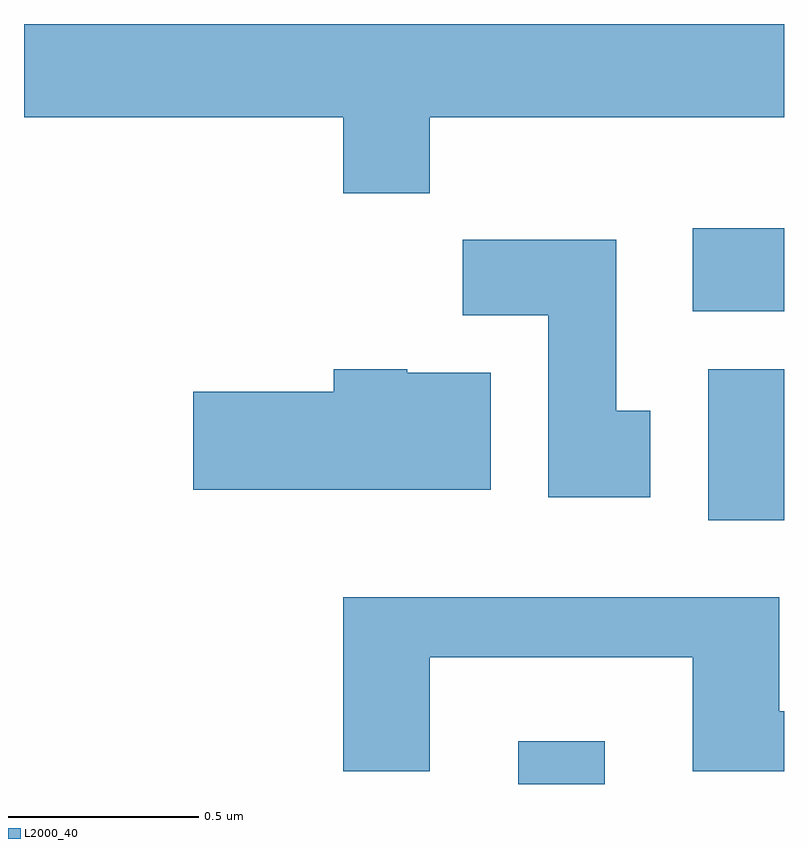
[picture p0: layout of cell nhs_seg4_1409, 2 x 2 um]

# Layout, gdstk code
import gdstk
lib = gdstk.Library(unit=1e-6, precision=1e-09)
def R(c, l, rs):  # rectangles x0, y0, x1, y1
    for r in rs: c.add(gdstk.rectangle(r[:2], r[2:], *l))
def P(c, l, *ps):  # polygons
    for p in ps: c.add(gdstk.Polygon(p, *l))
L2000_40 = (2000, 40)

nhs_seg4_1409 = lib.new_cell('nhs_seg4_1409')
R(nhs_seg4_1409, L2000_40, [(196.911,1292.982,197.139,1293.094), (197.411,1293.676,197.611,1294.074), (197.371,1294.226,197.611,1294.444)])
P(nhs_seg4_1409, L2000_40, [(196.679,1294.736),(197.611,1294.736),(197.611,1294.982),(195.611,1294.982),(195.611,1294.736),(196.451,1294.736),(196.451,1294.536),(196.679,1294.536)],
  [(197.259,1293.964),(197.169,1293.964),(197.169,1294.414),(196.766,1294.414),(196.766,1294.216),(196.991,1294.216),(196.991,1293.736),(197.259,1293.736)],
  [(196.839,1294.064),(196.62,1294.064),(196.62,1294.074),(196.426,1294.074),(196.426,1294.014),(196.056,1294.014),(196.056,1293.756),(196.839,1293.756)],
  [(196.679,1293.316),(197.371,1293.316),(197.371,1293.016),(197.611,1293.016),(197.611,1293.174),(197.599,1293.174),(197.599,1293.474),(196.451,1293.474),(196.451,1293.016),(196.679,1293.016)])

lib.write_gds('nhs_seg4_1409.gds')
